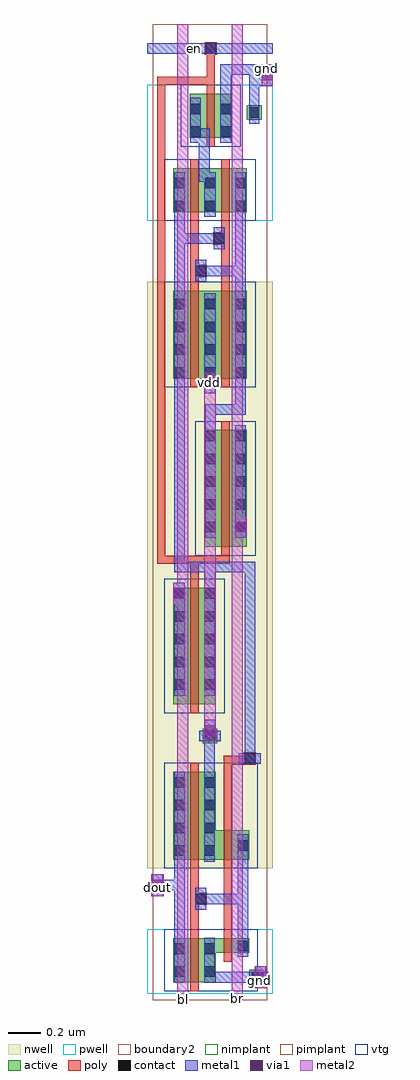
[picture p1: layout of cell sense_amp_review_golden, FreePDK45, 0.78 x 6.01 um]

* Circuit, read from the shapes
.subckt sense_amp_review_golden bl br dout en gnd vdd
M1 gnd n1 dout gnd nfet w=0.27u l=0.051u
M2 n2 n3 n4 gnd nfet w=0.271u l=0.051u
M3 gnd en n2 gnd nfet w=0.27u l=0.049u
M4 n3 n4 n2 gnd nfet w=0.271u l=0.051u
M5 n1 n4 gnd gnd nfet w=0.09u l=0.05u
M6 vdd n1 dout vdd pfet w=0.54u l=0.051u
M7 n4 en bl vdd pfet w=0.72u l=0.051u
M8 vdd n3 n4 vdd pfet w=0.54u l=0.051u
M9 br en n3 vdd pfet w=0.72u l=0.051u
M10 n3 n4 vdd vdd pfet w=0.54u l=0.051u
M11 n1 n4 vdd vdd pfet w=0.18u l=0.05u
.ends

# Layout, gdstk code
import gdstk
lib = gdstk.Library(unit=1e-6, precision=1e-09)
def R(c, l, rs):  # rectangles x0, y0, x1, y1
    for r in rs: c.add(gdstk.rectangle(r[:2], r[2:], *l))
def A(c, l, x, y, w, h, nx, ny, dx, dy):  # array of equal rectangles
    R(c, l, [(x+i*dx, y+j*dy, x+i*dx+w, y+j*dy+h) for i in range(nx) for j in range(ny)])
def P(c, l, *ps):  # polygons
    for p in ps: c.add(gdstk.Polygon(p, *l))
active = (1, 0)
pwell = (2, 0)
nwell = (3, 0)
nimplant = (4, 0)
pimplant = (5, 0)
vtg = (6, 0)
poly = (9, 0)
contact = (10, 0)
metal1 = (11, 0)
via1 = (12, 0)
metal2 = (13, 0)
boundary2 = (239, 0)

sense_amp_review_golden = lib.new_cell('sense_amp_review_golden')
R(sense_amp_review_golden, active, [(0.595,0.095,0.685,0.185), (0.307,1.58,0.398,1.67), (0.127,1.82,0.387,2.54), (0.127,1.82,0.203,2.54), (0.127,1.82,0.203,2.54), (0.312,1.82,0.387,2.54), (0.312,1.82,0.387,2.54), (0.127,1.905,0.203,2.54), (0.312,1.905,0.387,2.54), (0.317,2.79,0.392,3.51), (0.317,2.79,0.392,3.51), (0.317,2.79,0.578,3.51), (0.503,2.79,0.578,3.51), (0.503,2.79,0.578,3.51), (0.317,2.875,0.392,3.51), (0.503,2.875,0.578,3.51), (0.127,3.827,0.203,4.322), (0.127,3.827,0.387,4.367), (0.127,3.827,0.203,4.367), (0.127,3.827,0.203,4.367), (0.312,3.827,0.387,4.322), (0.312,3.827,0.387,4.367), (0.312,3.827,0.387,4.367), (0.317,3.827,0.392,4.322), (0.317,3.827,0.392,4.367), (0.317,3.827,0.392,4.367), (0.317,3.827,0.578,4.367), (0.503,3.827,0.578,4.322), (0.503,3.827,0.578,4.367), (0.503,3.827,0.578,4.367), (0.127,4.852,0.203,5.067), (0.127,4.852,0.387,5.123), (0.127,4.852,0.203,5.123), (0.127,4.852,0.203,5.123), (0.312,4.852,0.387,5.067), (0.312,4.852,0.387,5.123), (0.312,4.852,0.387,5.123), (0.317,4.852,0.392,5.067), (0.317,4.852,0.578,5.123), (0.317,4.852,0.392,5.123), (0.317,4.852,0.392,5.123), (0.503,4.852,0.578,5.067), (0.503,4.852,0.578,5.123), (0.503,4.852,0.578,5.123), (0.227,5.31,0.302,5.525), (0.227,5.31,0.487,5.58), (0.227,5.31,0.302,5.58), (0.227,5.31,0.302,5.58), (0.413,5.31,0.487,5.525), (0.413,5.31,0.487,5.58), (0.413,5.31,0.487,5.58), (0.58,5.42,0.67,5.51)])
P(sense_amp_review_golden, active, [(0.127,0.11),(0.127,0.38),(0.593,0.38),(0.593,0.29),(0.387,0.29),(0.387,0.11)],
  [(0.127,0.865),(0.127,1.405),(0.387,1.405),(0.387,1.045),(0.593,1.045),(0.593,0.865)])
R(sense_amp_review_golden, pwell, [(-0.035,0.055,0.74,0.435), (-0.035,4.798,0.74,5.635), (0.072,4.798,0.442,5.178), (0.263,4.798,0.633,5.178), (0.173,5.255,0.542,5.635), (0.525,5.365,0.725,5.565)])
P(sense_amp_review_golden, pwell, [(-0.035,0.04),(-0.035,0.055),(0.595,0.055),(0.595,0.095),(0.685,0.095),(0.685,0.055),(0.74,0.055),(0.74,0.04)])
R(sense_amp_review_golden, nwell, [(-0.035,0.81,0.74,4.423), (0.072,1.765,0.442,2.595), (0.263,2.735,0.633,3.565), (0.072,3.772,0.442,4.423), (0.263,3.772,0.633,4.423)])
R(sense_amp_review_golden, nimplant, [(0.307,1.58,0.398,1.67), (0.127,4.852,0.387,5.123), (0.317,4.852,0.578,5.123), (0.227,5.31,0.487,5.58)])
P(sense_amp_review_golden, nimplant, [(0.127,0.11),(0.127,0.38),(0.593,0.38),(0.593,0.29),(0.387,0.29),(0.387,0.11)])
R(sense_amp_review_golden, pimplant, [(0.595,0.095,0.685,0.185), (0.127,1.82,0.387,2.54), (0.317,2.79,0.578,3.51), (0.127,3.827,0.387,4.367), (0.317,3.827,0.578,4.367), (0.58,5.42,0.67,5.51)])
P(sense_amp_review_golden, pimplant, [(0.127,0.865),(0.127,1.405),(0.387,1.405),(0.387,1.045),(0.593,1.045),(0.593,0.865)])
R(sense_amp_review_golden, vtg, [(0.072,0.055,0.647,0.435), (0.072,0.81,0.645,1.46), (0.072,1.765,0.442,2.595), (0.263,2.735,0.633,3.565), (0.072,3.772,0.442,4.423), (0.263,3.772,0.633,4.423), (0.072,4.798,0.442,5.178), (0.263,4.798,0.633,5.178), (0.173,5.255,0.542,5.635)])
R(sense_amp_review_golden, poly, [(0.232,0.055,0.283,1.46), (0.258,0.585,0.333,0.66), (0.232,1.765,0.283,1.82), (0.232,1.765,0.283,2.595), (0.232,2.54,0.283,2.595), (0.232,2.595,0.283,2.685), (0.027,2.685,0.473,2.735), (0.027,2.735,0.077,5.635), (0.422,2.735,0.473,2.79), (0.422,2.735,0.473,3.565), (0.422,3.51,0.473,3.565), (0.232,3.772,0.283,3.827), (0.232,3.772,0.283,4.423), (0.422,3.772,0.473,3.827), (0.422,3.772,0.473,4.423), (0.232,4.04,0.283,4.798), (0.422,4.04,0.473,4.798), (0.232,4.367,0.283,4.423), (0.422,4.367,0.473,4.423), (0.258,4.452,0.333,4.527), (0.372,4.652,0.447,4.727), (0.232,4.798,0.283,4.852), (0.232,4.798,0.283,5.178), (0.422,4.798,0.473,4.852), (0.422,4.798,0.473,5.178), (0.232,5.123,0.283,5.178), (0.422,5.123,0.473,5.178), (0.333,5.255,0.382,5.31), (0.333,5.255,0.382,5.635), (0.333,5.58,0.382,5.635), (0.027,5.635,0.382,5.685), (0.333,5.685,0.382,5.89), (0.32,5.822,0.395,5.897)])
P(sense_amp_review_golden, poly, [(0.437,0.235),(0.437,1.505),(0.56,1.505),(0.56,1.525),(0.635,1.525),(0.635,1.45),(0.487,1.45),(0.487,0.235)])
A(sense_amp_review_golden, contact, 0.133, 1.91, 0.065, 0.065, 1, 5, 0, 0.14)
A(sense_amp_review_golden, contact, 0.317, 1.91, 0.065, 0.065, 1, 5, 0, 0.14)
A(sense_amp_review_golden, contact, 0.323, 2.88, 0.064, 0.065, 1, 5, 0, 0.14)
A(sense_amp_review_golden, contact, 0.508, 2.88, 0.065, 0.065, 1, 5, 0, 0.14)
R(sense_amp_review_golden, contact, [(0.61,0.107,0.675,0.173), (0.133,0.143,0.198,0.208), (0.317,0.143,0.382,0.208), (0.133,0.283,0.198,0.348), (0.317,0.283,0.382,0.348), (0.522,0.3,0.588,0.365), (0.263,0.59,0.328,0.655), (0.133,0.888,0.198,0.952), (0.317,0.888,0.382,0.952), (0.522,0.92,0.588,0.985), (0.133,1.028,0.198,1.093), (0.317,1.028,0.382,1.093), (0.133,1.167,0.198,1.232), (0.317,1.167,0.382,1.232), (0.133,1.308,0.198,1.373), (0.317,1.308,0.382,1.373), (0.565,1.455,0.63,1.52), (0.32,1.592,0.385,1.657), (0.133,3.832,0.198,3.897), (0.323,3.832,0.387,3.897), (0.508,3.832,0.573,3.897), (0.133,3.972,0.198,4.037), (0.323,3.972,0.387,4.037), (0.508,3.972,0.573,4.037), (0.133,4.112,0.198,4.178), (0.323,4.112,0.387,4.178), (0.508,4.112,0.573,4.178), (0.133,4.253,0.198,4.317), (0.323,4.253,0.387,4.317), (0.508,4.253,0.573,4.317), (0.263,4.458,0.328,4.522), (0.377,4.657,0.442,4.723), (0.133,4.857,0.198,4.923), (0.323,4.857,0.387,4.923), (0.508,4.857,0.573,4.923), (0.133,4.998,0.198,5.062), (0.323,4.998,0.387,5.062), (0.508,4.998,0.573,5.062), (0.232,5.315,0.297,5.38), (0.417,5.315,0.482,5.38), (0.593,5.432,0.657,5.498), (0.232,5.455,0.297,5.52), (0.417,5.455,0.482,5.52), (0.325,5.827,0.39,5.892)])
R(sense_amp_review_golden, metal1, [(0.133,0.107,0.198,1.407), (0.317,0.107,0.382,0.382), (0.382,0.107,0.567,0.173), (0.522,0.265,0.588,0.3), (0.263,0.555,0.328,0.69), (-0.002,0.64,0.062,0.775), (-0.007,0.67,0.068,0.745), (0.068,0.675,0.133,0.74), (0.317,0.852,0.382,0.888), (0.317,0.888,0.382,1.657), (0.522,0.985,0.588,1.02), (0.53,1.455,0.665,1.52), (0.565,1.455,0.63,2.7), (0.285,1.592,0.42,1.657), (0.32,1.592,0.385,1.727), (0.133,1.875,0.198,2.57), (0.317,1.875,0.382,2.57), (0.127,2.435,0.192,2.57), (0.32,2.502,0.385,2.7), (0.133,2.635,0.63,2.7), (0.133,2.7,0.198,3.797), (0.323,2.845,0.387,3.54), (0.508,2.845,0.573,3.54), (0.51,2.845,0.575,2.98), (0.323,3.475,0.387,3.67), (0.323,3.605,0.573,3.67), (0.508,3.605,0.573,3.8), (0.32,3.735,0.385,3.87), (0.133,3.797,0.198,4.352), (0.317,3.797,0.382,4.352), (0.323,3.797,0.387,4.352), (0.508,3.797,0.573,4.352), (0.133,3.96,0.198,4.827), (0.508,3.96,0.573,4.822), (0.263,4.423,0.328,4.558), (0.283,4.458,0.573,4.522), (0.377,4.623,0.442,4.758), (0.133,4.657,0.422,4.723), (0.133,4.822,0.198,5.098), (0.317,4.822,0.382,5.098), (0.323,4.822,0.387,5.098), (0.508,4.822,0.573,5.098), (0.283,5.04,0.352,5.367), (0.232,5.28,0.297,5.555), (0.417,5.28,0.482,5.555), (0.593,5.397,0.657,5.532), (0.593,5.532,0.657,5.762), (0.417,5.545,0.482,5.697), (0.657,5.628,0.672,5.697), (0.672,5.628,0.738,5.762), (0.417,5.697,0.74,5.762), (-0.035,5.827,0.74,5.892), (0.23,5.827,0.295,5.892), (0.29,5.827,0.425,5.892)])
P(sense_amp_review_golden, metal1, [(0.522,0.3),(0.522,0.59),(0.263,0.59),(0.263,0.655),(0.522,0.655),(0.522,0.985),(0.588,0.985),(0.588,0.3)],
  [(0.633,0.072),(0.633,0.107),(0.567,0.107),(0.567,0.173),(0.633,0.173),(0.633,0.208),(0.697,0.208),(0.697,0.173),(0.71,0.173),(0.71,0.107),(0.697,0.107),(0.697,0.072)],
  [(0,1.453),(0,1.453),(0,1.453),(0,1.453)])
R(sense_amp_review_golden, via1, [(0.633,0.107,0.697,0.173), (-0.002,0.675,0.062,0.74), (0.32,1.627,0.385,1.693), (0.127,2.47,0.192,2.535), (0.51,2.88,0.575,2.945), (0.32,3.77,0.385,3.835), (0.672,5.663,0.738,5.727)])
R(sense_amp_review_golden, metal2, [(0.15,0,0.22,6.01), (0.485,0,0.555,6.01), (0.628,0.072,0.702,0.208), (0.628,0.103,0.702,0.177), (-0.01,0.64,0.068,0.775), (-0.007,0.67,0.068,0.745), (0.317,1.592,0.387,1.727), (0.317,1.725,0.387,3.735), (0.125,2.435,0.195,2.57), (0.508,2.845,0.578,2.98), (0.317,3.735,0.387,3.87), (0.67,5.628,0.74,5.762)])
R(sense_amp_review_golden, boundary2, [(0,0,0.705,6.01)])
sense_amp_review_golden.add(gdstk.Label('en', (0.258,5.86), layer=11, texttype=0))
sense_amp_review_golden.add(gdstk.Label('dout', (0.027,0.692), layer=13, texttype=0))
sense_amp_review_golden.add(gdstk.Label('gnd', (0.655,0.122), layer=13, texttype=0))
sense_amp_review_golden.add(gdstk.Label('bl', (0.19,0.005), layer=13, texttype=0))
sense_amp_review_golden.add(gdstk.Label('br', (0.52,0.007), layer=13, texttype=0))
sense_amp_review_golden.add(gdstk.Label('vdd', (0.352,3.8), layer=13, texttype=0))
sense_amp_review_golden.add(gdstk.Label('gnd', (0.702,5.735), layer=13, texttype=0))

lib.write_gds('sense_amp_review_golden.gds')
